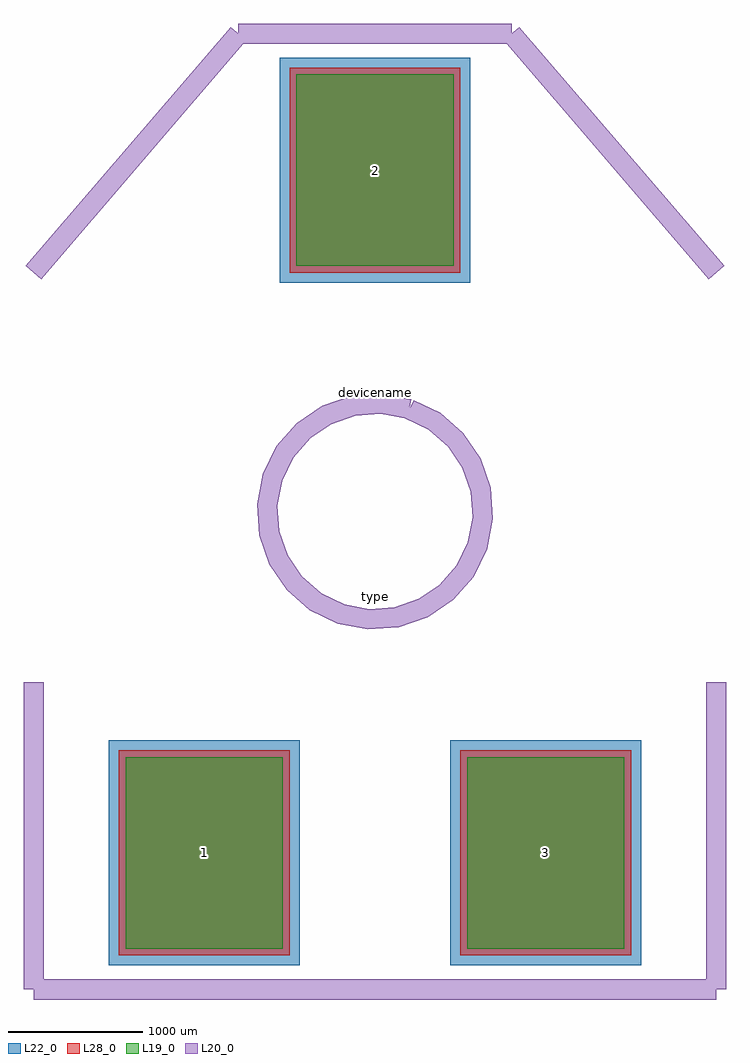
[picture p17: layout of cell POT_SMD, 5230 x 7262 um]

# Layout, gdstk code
import gdstk
lib = gdstk.Library(unit=1e-6, precision=1e-09)
def R(c, l, rs):  # rectangles x0, y0, x1, y1
    for r in rs: c.add(gdstk.rectangle(r[:2], r[2:], *l))
L19_0 = (19, 0)
L20_0 = (20, 0)
L22_0 = (22, 0)
L28_0 = (28, 0)

pot_smd = lib.new_cell('POT_SMD')
R(pot_smd, L19_0, [(-1855,-3252,-685,-1828), (685,-3252,1855,-1828), (-585,1828,585,3252)])
R(pot_smd, L22_0, [(-1980,-3377,-560,-1703), (560,-3377,1980,-1703), (-710,1703,710,3377)])
R(pot_smd, L28_0, [(-1905,-3302,-635,-1778), (635,-3302,1905,-1778), (-635,1778,635,3302)])
pot_smd.add(gdstk.FlexPath([(254,762),(48.125,801.776),(-161.03,786.911),(-359.21,718.42),(-532.911,600.97),(-670.295,442.565),(-762,254),(-801.776,48.125),(-786.911,-161.03),(-718.42,-359.21),(-600.97,-532.911),(-442.565,-670.295),(-254,-762),(-48.125,-801.776),(161.03,-786.911),(359.21,-718.42),(532.911,-600.97),(670.295,-442.565),(762,-254),(801.776,-48.125),(786.911,161.03),(718.42,359.21),(600.97,532.911),(442.565,670.295),(254,762)], 149.998, ends="flush", simple_path=True, layer=20, datatype=0))  # L20_0
pot_smd.add(gdstk.FlexPath([(1016,3556),(2540,1778)], 149.998, ends="flush", simple_path=True, layer=20, datatype=0))  # L20_0
pot_smd.add(gdstk.FlexPath([(-1016,3556),(1016,3556)], 149.998, ends="flush", simple_path=True, layer=20, datatype=0))  # L20_0
pot_smd.add(gdstk.FlexPath([(-2540,1778),(-1016,3556)], 149.998, ends="flush", simple_path=True, layer=20, datatype=0))  # L20_0
pot_smd.add(gdstk.FlexPath([(2540,-3556),(2540,-1270)], 149.998, ends="flush", simple_path=True, layer=20, datatype=0))  # L20_0
pot_smd.add(gdstk.FlexPath([(-2540,-3556),(2540,-3556)], 149.998, ends="flush", simple_path=True, layer=20, datatype=0))  # L20_0
pot_smd.add(gdstk.FlexPath([(-2540,-1270),(-2540,-3556)], 149.998, ends="flush", simple_path=True, layer=20, datatype=0))  # L20_0
pot_smd.add(gdstk.Label('3', (1270,-2540), layer=28, texttype=0))
pot_smd.add(gdstk.Label('2', (0,2540), layer=28, texttype=0))
pot_smd.add(gdstk.Label('1', (-1270,-2540), layer=28, texttype=0))
pot_smd.add(gdstk.Label('type', (0,-635), layer=9, texttype=0))
pot_smd.add(gdstk.Label('devicename', (0,886.46), layer=9, texttype=0))

lib.write_gds('POT_SMD.gds')
